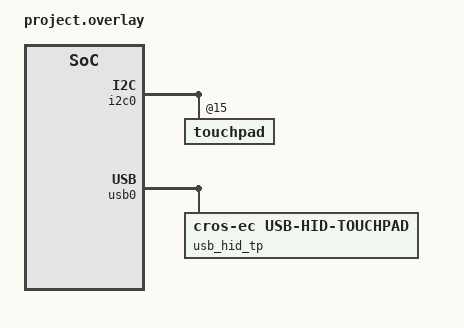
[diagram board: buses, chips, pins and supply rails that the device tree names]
/* Copyright 2024 The ChromiumOS Authors
 * Use of this source code is governed by a BSD-style license that can be
 * found in the LICENSE file.
 */

#include <cros/touchpad_hashes.dtsi>

#include "../gpio.dtsi"
#include "../uart.dtsi"
#include "../i2c.dtsi"
#include "../interrupts.dtsi"
#include "../keyboard.dtsi"
#include "../pwm.dtsi"
#include "../rwsig.dtsi"

&i2c0 {
	touchpad@15 {
		logical-max-x = <2721>;
		logical-max-y = <1291>;
		physical-max-x = <864>;
		physical-max-y = <410>;
	};
};

&touchpad_fw_hashes {
	size = <((65536 / 1024) * 32)>;
};


/ {
	aliases {
		usb-hid-tp = &usb_hid_tp;
	};
};

&uart2 {
	status = "disabled";

	one_wire_uart: one-wire-uart {
		status = "disabled";
	};
};

&ite_uart2_wrapper {
	status = "disabled";
};

zephyr_udc0: &usb0 {
	status = "okay";
	pinctrl-0 = <&usb0_dm_gph5_default
		     &usb0_dp_gph6_default>;
	pinctrl-names = "default";

	usb_hid_tp: usb-hid-tp {
		compatible = "cros-ec,usb-hid-touchpad";

		logical-max-x = <2721>;
		logical-max-y = <1291>;
		physical-max-x = <864>;
		physical-max-y = <410>;
		max-pressure = <255>;
	};

	hid_kb_dev: hid-kb-dev {
		compatible = "zephyr,hid-device";
		label = "spikyrock keyboard";
		protocol-code = "keyboard";
		out-report-size = <64>;
		out-polling-period-us = <1000>;
		in-report-size = <64>;
		in-polling-period-us = <1000>;
	};

	hid_tp_dev: hid-tp-dev {
		compatible = "zephyr,hid-device";
		label = "spikyrock keyboard";
		protocol-code = "mouse";
		/* device cert (256 bytes) + some overhead */
		out-report-size = <280>;
		out-polling-period-us = <1000>;
		in-report-size = <64>;
		in-polling-period-us = <1000>;
	};
};
